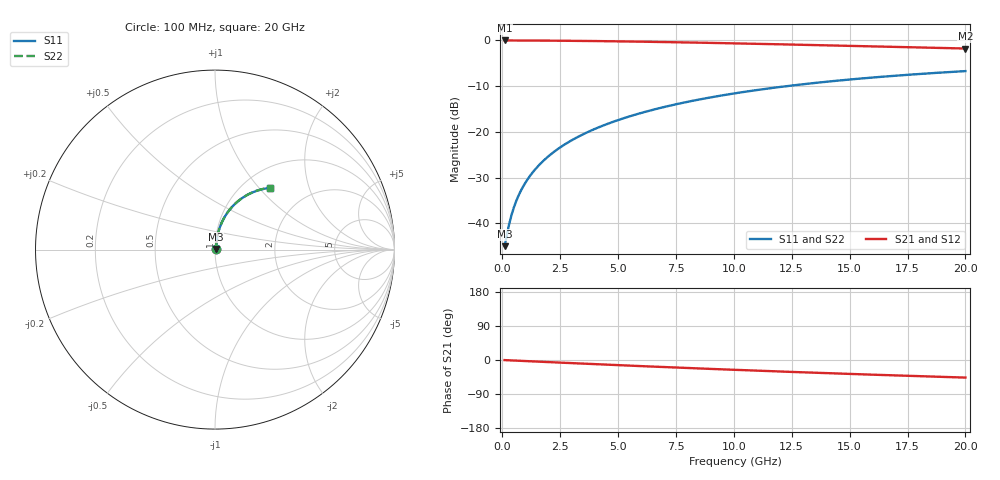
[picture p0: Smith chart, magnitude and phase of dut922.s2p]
! Touchstone file exported from HFSS 2024.1.0
!  File:  C:/UserFiles/LocalFiles/RDL_TSV_Batchsim/temp_RDL_bottom_922_1779940994.aedt
!  Generated:  12:05:55 PM May 28, 2026
!  Design:  RDL_bottom
!  Project:  temp_RDL_bottom_922_1779940994
!  Setup:  Setup1
!  Solution:  Sweep
! Variables:
!  dtsv = 10.80580581um
!  hbump = 3um
!  htsv = 56.77um
!  ldown = 653.33um
!  lrdl = 100um
!  p = 40
!  p1 = 44.26um
!  rhole = 1um
!  t = 450um
!  tdown = 3.21um
!  trdl = 3.915915916um
!  wdown = 15.13um
!  wrdl = 20um
# GHz S MA R 50.000000
! Terminal data exported
! Port[1] = RDL1_T1
! Port[2] = RDL1_T2
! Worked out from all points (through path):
!   200 points, 100 MHz to 20 GHz, reference 50 ohm
!   highest |S21| = -0.04 dB at 100 MHz (marker M1); lowest = -1.8 dB at 20 GHz (marker M2)
!   group delay of S21, straight-line fit = 6.43 ps
!   lowest |S11| = -45.0 dB at 100 MHz (marker M3), VSWR 1.01, Z = 50.5 + j0.289 ohm
!   |S11| at or under -10 dB: start of sweep to 12.32 GHz
!   |S22| runs from -45.0 to -6.7 dB; largest |S21 - S12| = 3.7e-15
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0.1  0.005651 30.5  0.9951 -0.3  0.9951 -0.3  0.005651 30.5
! Gamma 0 0 0 0
! Port Impedance 50 0 50 0
0.3  0.009923 58.6  0.9948 -0.9  0.9948 -0.9  0.009923 58.6
0.4  0.01242 64.4  0.9946 -1.1  0.9946 -1.1  0.01242 64.4
0.5  0.01496 68.2  0.9944 -1.4  0.9944 -1.4  0.01496 68.2
0.6  0.01753 70.8  0.9942 -1.7  0.9942 -1.7  0.01753 70.8
0.8  0.0227 74.2  0.9938 -2.2  0.9938 -2.2  0.0227 74.2
1.1  0.03053 77.0  0.9932 -3.1  0.9932 -3.1  0.03053 77.1
1.3  0.03579 78.2  0.9927 -3.6  0.9927 -3.6  0.03579 78.2
1.6  0.04371 79.2  0.9919 -4.4  0.9919 -4.4  0.04371 79.2
2.1  0.057 79.9  0.9902 -5.8  0.9902 -5.8  0.057 80.0
2.7  0.073 80.0  0.9876 -7.4  0.9876 -7.4  0.07301 80.0
3.5  0.0944 79.4  0.9834 -9.6  0.9834 -9.6  0.0944 79.4
4.2  0.1131 78.5  0.979 -11.5  0.979 -11.5  0.1131 78.6
5  0.1344 77.3  0.9733 -13.6  0.9733 -13.6  0.1345 77.4
5.9  0.1583 75.8  0.966 -15.9  0.966 -15.9  0.1583 75.8
6.8  0.1819 74.1  0.958 -18.2  0.958 -18.2  0.1819 74.1
8.4  0.2229 71.0  0.9424 -22.1  0.9424 -22.1  0.223 71.0
10.1  0.2649 67.5  0.9244 -26.1  0.9244 -26.1  0.265 67.5
11.7  0.3024 64.2  0.9067 -29.7  0.9067 -29.7  0.3025 64.2
13.4  0.3399 60.7  0.8874 -33.4  0.8874 -33.4  0.34 60.8
16.7  0.4052 54.3  0.8495 -40.1  0.8495 -40.1  0.4054 54.3
20  0.4605 48.3  0.8126 -46.4  0.8126 -46.4  0.4608 48.3
